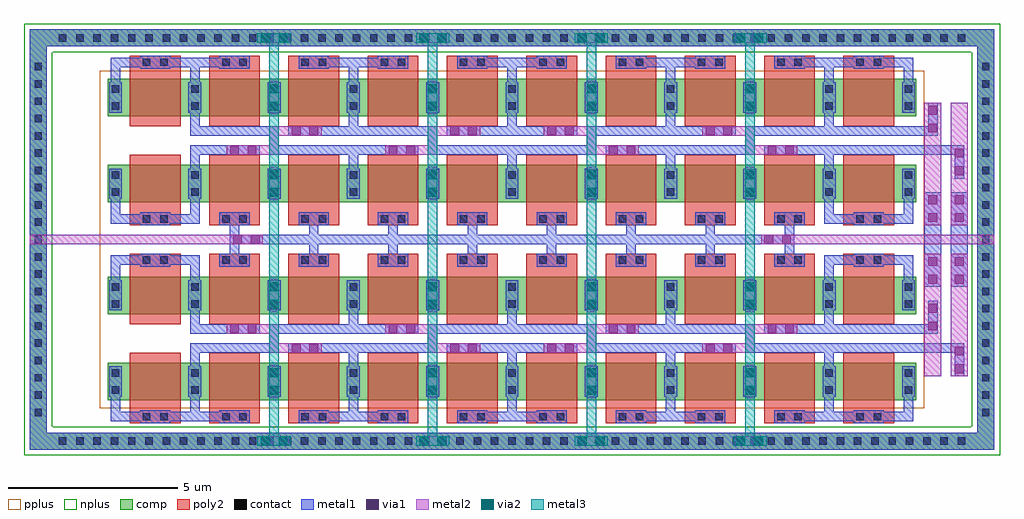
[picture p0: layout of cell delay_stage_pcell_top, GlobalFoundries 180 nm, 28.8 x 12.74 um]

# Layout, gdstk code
from math import pi, radians
import gdstk
lib = gdstk.Library(unit=1e-6, precision=5e-09)
def R(c, l, rs):  # rectangles x0, y0, x1, y1
    for r in rs: c.add(gdstk.rectangle(r[:2], r[2:], *l))
def A(c, l, x, y, w, h, nx, ny, dx, dy):  # array of equal rectangles
    R(c, l, [(x+i*dx, y+j*dy, x+i*dx+w, y+j*dy+h) for i in range(nx) for j in range(ny)])
comp = (22, 0)
poly2 = (30, 0)
pplus = (31, 0)
nplus = (32, 0)
contact = (33, 0)
metal1 = (34, 0)
via1 = (35, 0)
metal2 = (36, 0)
via2 = (38, 0)
metal3 = (42, 0)

delay_stage_pcell_1_2_2 = lib.new_cell('delay_stage_pcell_1$2$2')
R(delay_stage_pcell_1_2_2, comp, [(0.17,0.3,0.63,1.4), (0.63,0.3,2.51,1.4), (2.51,0.3,2.97,1.4)])
R(delay_stage_pcell_1_2_2, poly2, [(0.82,0,2.32,1.7)])
R(delay_stage_pcell_1_2_2, contact, [(0.29,0.485,0.51,0.705), (2.63,0.485,2.85,0.705), (0.29,0.995,0.51,1.215), (2.63,0.995,2.85,1.215)])
R(delay_stage_pcell_1_2_2, metal1, [(0.21,0.405,0.59,1.295), (2.55,0.405,2.93,1.295)])

delay_stage_pcell_4_2 = lib.new_cell('delay_stage_pcell_4$2')
delay_stage_pcell_4_2.add(gdstk.Reference(delay_stage_pcell_1_2_2, (-0.17,0)))
delay_stage_pcell_4_2.add(gdstk.Reference(delay_stage_pcell_1_2_2, (2.17,0)))
delay_stage_pcell_4_2.add(gdstk.Reference(delay_stage_pcell_1_2_2, (4.51,0)))
delay_stage_pcell_4_2.add(gdstk.Reference(delay_stage_pcell_1_2_2, (6.85,0)))

delay_stage_pcell_4_4 = lib.new_cell('delay_stage_pcell_4_4')
R(delay_stage_pcell_4_4, poly2, [(0.65,0,2.15,0.38), (0.65,0,2.15,0.38), (2.99,0,4.49,0.38), (2.99,0,4.49,0.38), (5.33,0,6.83,0.38), (5.33,0,6.83,0.38), (7.67,0,9.17,0.38), (7.67,0,9.17,0.38), (0.65,4.62,2.15,5), (0.65,4.62,2.15,5), (2.99,4.62,4.49,5), (2.99,4.62,4.49,5), (5.33,4.62,6.83,5), (5.33,4.62,6.83,5), (7.67,4.62,9.17,5), (7.67,4.62,9.17,5), (0.65,5.84,2.15,6.22), (0.65,5.84,2.15,6.22), (2.99,5.84,4.49,6.22), (2.99,5.84,4.49,6.22), (5.33,5.84,6.83,6.22), (5.33,5.84,6.83,6.22), (7.67,5.84,9.17,6.22), (7.67,5.84,9.17,6.22), (0.65,10.46,2.15,10.84), (0.65,10.46,2.15,10.84), (2.99,10.46,4.49,10.84), (2.99,10.46,4.49,10.84), (5.33,10.46,6.83,10.84), (5.33,10.46,6.83,10.84), (7.67,10.46,9.17,10.84), (7.67,10.46,9.17,10.84)])
R(delay_stage_pcell_4_4, contact, [(1.035,0.08,1.255,0.3), (1.035,0.08,1.255,0.3), (1.545,0.08,1.765,0.3), (1.545,0.08,1.765,0.3), (3.375,0.08,3.595,0.3), (3.375,0.08,3.595,0.3), (3.885,0.08,4.105,0.3), (3.885,0.08,4.105,0.3), (5.715,0.08,5.935,0.3), (5.715,0.08,5.935,0.3), (6.225,0.08,6.445,0.3), (6.225,0.08,6.445,0.3), (8.055,0.08,8.275,0.3), (8.055,0.08,8.275,0.3), (8.565,0.08,8.785,0.3), (8.565,0.08,8.785,0.3), (1.035,4.7,1.255,4.92), (1.035,4.7,1.255,4.92), (1.545,4.7,1.765,4.92), (1.545,4.7,1.765,4.92), (3.375,4.7,3.595,4.92), (3.375,4.7,3.595,4.92), (3.885,4.7,4.105,4.92), (3.885,4.7,4.105,4.92), (5.715,4.7,5.935,4.92), (5.715,4.7,5.935,4.92), (6.225,4.7,6.445,4.92), (6.225,4.7,6.445,4.92), (8.055,4.7,8.275,4.92), (8.055,4.7,8.275,4.92), (8.565,4.7,8.785,4.92), (8.565,4.7,8.785,4.92), (1.035,5.92,1.255,6.14), (1.035,5.92,1.255,6.14), (1.545,5.92,1.765,6.14), (1.545,5.92,1.765,6.14), (3.375,5.92,3.595,6.14), (3.375,5.92,3.595,6.14), (3.885,5.92,4.105,6.14), (3.885,5.92,4.105,6.14), (5.715,5.92,5.935,6.14), (5.715,5.92,5.935,6.14), (6.225,5.92,6.445,6.14), (6.225,5.92,6.445,6.14), (8.055,5.92,8.275,6.14), (8.055,5.92,8.275,6.14), (8.565,5.92,8.785,6.14), (8.565,5.92,8.785,6.14), (1.035,10.54,1.255,10.76), (1.035,10.54,1.255,10.76), (1.545,10.54,1.765,10.76), (1.545,10.54,1.765,10.76), (3.375,10.54,3.595,10.76), (3.375,10.54,3.595,10.76), (3.885,10.54,4.105,10.76), (3.885,10.54,4.105,10.76), (5.715,10.54,5.935,10.76), (5.715,10.54,5.935,10.76), (6.225,10.54,6.445,10.76), (6.225,10.54,6.445,10.76), (8.055,10.54,8.275,10.76), (8.055,10.54,8.275,10.76), (8.565,10.54,8.785,10.76), (8.565,10.54,8.785,10.76)])
R(delay_stage_pcell_4_4, metal1, [(0.955,0,1.845,0.38), (3.295,0,4.185,0.38), (3.295,0,4.185,0.38), (5.635,0,6.525,0.38), (5.635,0,6.525,0.38), (7.975,0,8.865,0.38), (0.955,4.62,1.845,5), (0.955,4.62,1.845,5), (3.295,4.62,4.185,5), (3.295,4.62,4.185,5), (5.635,4.62,6.525,5), (5.635,4.62,6.525,5), (7.975,4.62,8.865,5), (0.955,5.84,1.845,6.22), (0.955,5.84,1.845,6.22), (3.295,5.84,4.185,6.22), (3.295,5.84,4.185,6.22), (5.635,5.84,6.525,6.22), (5.635,5.84,6.525,6.22), (7.975,5.84,8.865,6.22), (7.975,5.84,8.865,6.22), (0.955,10.46,1.845,10.84), (3.295,10.46,4.185,10.84), (3.295,10.46,4.185,10.84), (5.635,10.46,6.525,10.84), (5.635,10.46,6.525,10.84), (7.975,10.46,8.865,10.84)])
R(delay_stage_pcell_4_4, via1, [(2.44,0.84,2.7,1.1), (7.12,0.84,7.38,1.1), (2.44,1.36,2.7,1.62), (7.12,1.36,7.38,1.62), (1.27,2.09,1.53,2.35), (1.27,2.09,1.53,2.35), (1.79,2.09,2.05,2.35), (1.79,2.09,2.05,2.35), (5.95,2.09,6.21,2.35), (5.95,2.09,6.21,2.35), (6.47,2.09,6.73,2.35), (6.47,2.09,6.73,2.35), (3.09,2.65,3.35,2.91), (3.09,2.65,3.35,2.91), (3.61,2.65,3.87,2.91), (3.61,2.65,3.87,2.91), (7.77,2.65,8.03,2.91), (7.77,2.65,8.03,2.91), (8.29,2.65,8.55,2.91), (8.29,2.65,8.55,2.91), (2.44,3.38,2.7,3.64), (7.12,3.38,7.38,3.64), (2.44,3.9,2.7,4.16), (7.12,3.9,7.38,4.16), (2.44,6.68,2.7,6.94), (7.12,6.68,7.38,6.94), (2.44,7.2,2.7,7.46), (7.12,7.2,7.38,7.46), (3.09,7.93,3.35,8.19), (3.09,7.93,3.35,8.19), (3.61,7.93,3.87,8.19), (3.61,7.93,3.87,8.19), (7.77,7.93,8.03,8.19), (7.77,7.93,8.03,8.19), (8.29,7.93,8.55,8.19), (8.29,7.93,8.55,8.19), (1.27,8.49,1.53,8.75), (1.27,8.49,1.53,8.75), (1.79,8.49,2.05,8.75), (1.79,8.49,2.05,8.75), (5.95,8.49,6.21,8.75), (5.95,8.49,6.21,8.75), (6.47,8.49,6.73,8.75), (6.47,8.49,6.73,8.75), (2.44,9.22,2.7,9.48), (7.12,9.22,7.38,9.48), (2.44,9.74,2.7,10), (7.12,9.74,7.38,10)])
R(delay_stage_pcell_4_4, via2, [(2.44,0.84,2.7,1.1), (7.12,0.84,7.38,1.1), (2.44,1.36,2.7,1.62), (7.12,1.36,7.38,1.62), (2.44,3.38,2.7,3.64), (7.12,3.38,7.38,3.64), (2.44,3.9,2.7,4.16), (7.12,3.9,7.38,4.16), (2.44,6.68,2.7,6.94), (7.12,6.68,7.38,6.94), (2.44,7.2,2.7,7.46), (7.12,7.2,7.38,7.46), (2.44,9.22,2.7,9.48), (7.12,9.22,7.38,9.48), (2.44,9.74,2.7,10), (7.12,9.74,7.38,10)])
delay_stage_pcell_4_4.add(gdstk.FlexPath([(8.56,5.42),(0.23,5.42)], 0.28, ends="flush", simple_path=True, layer=34, datatype=0))  # metal1
delay_stage_pcell_4_4.add(gdstk.FlexPath([(4.185,10.65),(5.635,10.65)], 0.28, ends="flush", simple_path=True, layer=34, datatype=0))  # metal1
delay_stage_pcell_4_4.add(gdstk.FlexPath([(4.91,10.055),(4.91,10.51)], 0.28, ends="flush", simple_path=True, layer=34, datatype=0))  # metal1
delay_stage_pcell_4_4.add(gdstk.FlexPath([(0.955,10.65),(0.23,10.65),(0.23,10.055)], 0.28, ends="flush", simple_path=True, layer=34, datatype=0))  # metal1
delay_stage_pcell_4_4.add(gdstk.FlexPath([(8.865,10.65),(9.59,10.65),(9.59,10.055)], 0.28, ends="flush", simple_path=True, layer=34, datatype=0))  # metal1
delay_stage_pcell_4_4.add(gdstk.FlexPath([(4.185,0.19),(5.635,0.19)], 0.28, ends="flush", simple_path=True, layer=34, datatype=0))  # metal1
delay_stage_pcell_4_4.add(gdstk.FlexPath([(4.91,0.785),(4.91,0.33)], 0.28, ends="flush", simple_path=True, layer=34, datatype=0))  # metal1
delay_stage_pcell_4_4.add(gdstk.FlexPath([(0.955,0.19),(0.23,0.19),(0.23,0.785)], 0.28, ends="flush", simple_path=True, layer=34, datatype=0))  # metal1
delay_stage_pcell_4_4.add(gdstk.FlexPath([(8.865,0.19),(9.59,0.19),(9.59,0.785)], 0.28, ends="flush", simple_path=True, layer=34, datatype=0))  # metal1
delay_stage_pcell_4_4.add(gdstk.FlexPath([(9.59,1.675),(9.59,2.22),(8.65,2.22)], 0.28, ends="flush", simple_path=True, layer=34, datatype=0))  # metal1
delay_stage_pcell_4_4.add(gdstk.FlexPath([(9.59,1.675),(9.59,2.22),(8.65,2.22)], 0.28, ends="flush", simple_path=True, layer=34, datatype=0))  # metal1
delay_stage_pcell_4_4.add(gdstk.FlexPath([(4.91,1.675),(4.91,2.08)], 0.28, ends="flush", simple_path=True, layer=34, datatype=0))  # metal1
delay_stage_pcell_4_4.add(gdstk.FlexPath([(4.91,1.675),(4.91,2.08)], 0.28, ends="flush", simple_path=True, layer=34, datatype=0))  # metal1
delay_stage_pcell_4_4.add(gdstk.FlexPath([(0.23,1.675),(0.23,2.22),(1.17,2.22)], 0.28, ends="flush", simple_path=True, layer=34, datatype=0))  # metal1
delay_stage_pcell_4_4.add(gdstk.FlexPath([(0.23,1.675),(0.23,2.22),(1.17,2.22)], 0.28, ends="flush", simple_path=True, layer=34, datatype=0))  # metal1
delay_stage_pcell_4_4.add(gdstk.FlexPath([(8.65,2.22),(7.25,2.22),(7.25,2.78),(5.85,2.78)], 0.28, ends="flush", simple_path=True, layer=34, datatype=0))  # metal1
delay_stage_pcell_4_4.add(gdstk.FlexPath([(8.65,2.22),(7.25,2.22),(7.25,2.78),(5.85,2.78)], 0.28, ends="flush", simple_path=True, layer=34, datatype=0))  # metal1
delay_stage_pcell_4_4.add(gdstk.FlexPath([(6.83,2.22),(5.85,2.22)], 0.28, ends="flush", simple_path=True, layer=34, datatype=0))  # metal1
delay_stage_pcell_4_4.add(gdstk.FlexPath([(6.83,2.22),(5.85,2.22)], 0.28, ends="flush", simple_path=True, layer=34, datatype=0))  # metal1
delay_stage_pcell_4_4.add(gdstk.FlexPath([(3.97,2.22),(5.85,2.22)], 0.28, ends="flush", simple_path=True, layer=34, datatype=0))  # metal1
delay_stage_pcell_4_4.add(gdstk.FlexPath([(3.97,2.22),(5.85,2.22)], 0.28, ends="flush", simple_path=True, layer=34, datatype=0))  # metal1
delay_stage_pcell_4_4.add(gdstk.FlexPath([(3.97,2.22),(2.57,2.22),(2.57,2.78),(1.17,2.78)], 0.28, ends="flush", simple_path=True, layer=34, datatype=0))  # metal1
delay_stage_pcell_4_4.add(gdstk.FlexPath([(3.97,2.22),(2.57,2.22),(2.57,2.78),(1.17,2.78)], 0.28, ends="flush", simple_path=True, layer=34, datatype=0))  # metal1
delay_stage_pcell_4_4.add(gdstk.FlexPath([(2.15,2.22),(1.17,2.22)], 0.28, ends="flush", simple_path=True, layer=34, datatype=0))  # metal1
delay_stage_pcell_4_4.add(gdstk.FlexPath([(2.15,2.22),(1.17,2.22)], 0.28, ends="flush", simple_path=True, layer=34, datatype=0))  # metal1
delay_stage_pcell_4_4.add(gdstk.FlexPath([(8.65,2.78),(7.67,2.78)], 0.28, ends="flush", simple_path=True, layer=34, datatype=0))  # metal1
delay_stage_pcell_4_4.add(gdstk.FlexPath([(8.65,2.78),(7.67,2.78)], 0.28, ends="flush", simple_path=True, layer=34, datatype=0))  # metal1
delay_stage_pcell_4_4.add(gdstk.FlexPath([(3.97,2.78),(5.85,2.78)], 0.28, ends="flush", simple_path=True, layer=34, datatype=0))  # metal1
delay_stage_pcell_4_4.add(gdstk.FlexPath([(3.97,2.78),(5.85,2.78)], 0.28, ends="flush", simple_path=True, layer=34, datatype=0))  # metal1
delay_stage_pcell_4_4.add(gdstk.FlexPath([(3.97,2.78),(2.99,2.78)], 0.28, ends="flush", simple_path=True, layer=34, datatype=0))  # metal1
delay_stage_pcell_4_4.add(gdstk.FlexPath([(3.97,2.78),(2.99,2.78)], 0.28, ends="flush", simple_path=True, layer=34, datatype=0))  # metal1
delay_stage_pcell_4_4.add(gdstk.FlexPath([(1.17,2.78),(0.23,2.78),(0.23,3.325)], 0.28, ends="flush", simple_path=True, layer=34, datatype=0))  # metal1
delay_stage_pcell_4_4.add(gdstk.FlexPath([(1.17,2.78),(0.23,2.78),(0.23,3.325)], 0.28, ends="flush", simple_path=True, layer=34, datatype=0))  # metal1
delay_stage_pcell_4_4.add(gdstk.FlexPath([(9.59,3.325),(9.59,2.78),(8.65,2.78)], 0.28, ends="flush", simple_path=True, layer=34, datatype=0))  # metal1
delay_stage_pcell_4_4.add(gdstk.FlexPath([(9.59,3.325),(9.59,2.78),(8.65,2.78)], 0.28, ends="flush", simple_path=True, layer=34, datatype=0))  # metal1
delay_stage_pcell_4_4.add(gdstk.FlexPath([(4.91,3.325),(4.91,2.92)], 0.28, ends="flush", simple_path=True, layer=34, datatype=0))  # metal1
delay_stage_pcell_4_4.add(gdstk.FlexPath([(4.91,3.325),(4.91,2.92)], 0.28, ends="flush", simple_path=True, layer=34, datatype=0))  # metal1
delay_stage_pcell_4_4.add(gdstk.FlexPath([(9.59,7.515),(9.59,8.06),(8.65,8.06)], 0.28, ends="flush", simple_path=True, layer=34, datatype=0))  # metal1
delay_stage_pcell_4_4.add(gdstk.FlexPath([(9.59,9.165),(9.59,8.62),(8.65,8.62)], 0.28, ends="flush", simple_path=True, layer=34, datatype=0))  # metal1
delay_stage_pcell_4_4.add(gdstk.FlexPath([(4.91,9.165),(4.91,8.76)], 0.28, ends="flush", simple_path=True, layer=34, datatype=0))  # metal1
delay_stage_pcell_4_4.add(gdstk.FlexPath([(4.91,7.515),(4.91,7.92)], 0.28, ends="flush", simple_path=True, layer=34, datatype=0))  # metal1
delay_stage_pcell_4_4.add(gdstk.FlexPath([(1.17,8.06),(0.23,8.06),(0.23,7.515)], 0.28, ends="flush", simple_path=True, layer=34, datatype=0))  # metal1
delay_stage_pcell_4_4.add(gdstk.FlexPath([(0.23,9.165),(0.23,8.62),(1.17,8.62)], 0.28, ends="flush", simple_path=True, layer=34, datatype=0))  # metal1
delay_stage_pcell_4_4.add(gdstk.FlexPath([(8.65,8.62),(7.25,8.62),(7.25,8.06),(5.85,8.06)], 0.28, ends="flush", simple_path=True, layer=34, datatype=0))  # metal1
delay_stage_pcell_4_4.add(gdstk.FlexPath([(3.97,8.62),(2.57,8.62),(2.57,8.06),(1.17,8.06)], 0.28, ends="flush", simple_path=True, layer=34, datatype=0))  # metal1
delay_stage_pcell_4_4.add(gdstk.FlexPath([(2.15,8.62),(1.17,8.62)], 0.28, ends="flush", simple_path=True, layer=34, datatype=0))  # metal1
delay_stage_pcell_4_4.add(gdstk.FlexPath([(3.97,8.06),(2.99,8.06)], 0.28, ends="flush", simple_path=True, layer=34, datatype=0))  # metal1
delay_stage_pcell_4_4.add(gdstk.FlexPath([(8.65,8.06),(7.67,8.06)], 0.28, ends="flush", simple_path=True, layer=34, datatype=0))  # metal1
delay_stage_pcell_4_4.add(gdstk.FlexPath([(6.83,8.62),(5.85,8.62)], 0.28, ends="flush", simple_path=True, layer=34, datatype=0))  # metal1
delay_stage_pcell_4_4.add(gdstk.FlexPath([(3.97,8.62),(5.85,8.62)], 0.28, ends="flush", simple_path=True, layer=34, datatype=0))  # metal1
delay_stage_pcell_4_4.add(gdstk.FlexPath([(3.97,8.06),(5.85,8.06)], 0.28, ends="flush", simple_path=True, layer=34, datatype=0))  # metal1
delay_stage_pcell_4_4.add(gdstk.FlexPath([(3.97,8.06),(5.85,8.06)], 0.28, ends="flush", simple_path=True, layer=34, datatype=0))  # metal1
delay_stage_pcell_4_4.add(gdstk.FlexPath([(3.97,8.62),(5.85,8.62)], 0.28, ends="flush", simple_path=True, layer=34, datatype=0))  # metal1
delay_stage_pcell_4_4.add(gdstk.FlexPath([(6.83,8.62),(5.85,8.62)], 0.28, ends="flush", simple_path=True, layer=34, datatype=0))  # metal1
delay_stage_pcell_4_4.add(gdstk.FlexPath([(8.65,8.06),(7.67,8.06)], 0.28, ends="flush", simple_path=True, layer=34, datatype=0))  # metal1
delay_stage_pcell_4_4.add(gdstk.FlexPath([(3.97,8.06),(2.99,8.06)], 0.28, ends="flush", simple_path=True, layer=34, datatype=0))  # metal1
delay_stage_pcell_4_4.add(gdstk.FlexPath([(2.15,8.62),(1.17,8.62)], 0.28, ends="flush", simple_path=True, layer=34, datatype=0))  # metal1
delay_stage_pcell_4_4.add(gdstk.FlexPath([(3.97,8.62),(2.57,8.62),(2.57,8.06),(1.17,8.06)], 0.28, ends="flush", simple_path=True, layer=34, datatype=0))  # metal1
delay_stage_pcell_4_4.add(gdstk.FlexPath([(8.65,8.62),(7.25,8.62),(7.25,8.06),(5.85,8.06)], 0.28, ends="flush", simple_path=True, layer=34, datatype=0))  # metal1
delay_stage_pcell_4_4.add(gdstk.FlexPath([(0.23,9.165),(0.23,8.62),(1.17,8.62)], 0.28, ends="flush", simple_path=True, layer=34, datatype=0))  # metal1
delay_stage_pcell_4_4.add(gdstk.FlexPath([(1.17,8.06),(0.23,8.06),(0.23,7.515)], 0.28, ends="flush", simple_path=True, layer=34, datatype=0))  # metal1
delay_stage_pcell_4_4.add(gdstk.FlexPath([(4.91,7.515),(4.91,7.92)], 0.28, ends="flush", simple_path=True, layer=34, datatype=0))  # metal1
delay_stage_pcell_4_4.add(gdstk.FlexPath([(4.91,9.165),(4.91,8.76)], 0.28, ends="flush", simple_path=True, layer=34, datatype=0))  # metal1
delay_stage_pcell_4_4.add(gdstk.FlexPath([(9.59,9.165),(9.59,8.62),(8.65,8.62)], 0.28, ends="flush", simple_path=True, layer=34, datatype=0))  # metal1
delay_stage_pcell_4_4.add(gdstk.FlexPath([(9.59,7.515),(9.59,8.06),(8.65,8.06)], 0.28, ends="flush", simple_path=True, layer=34, datatype=0))  # metal1
delay_stage_pcell_4_4.add(gdstk.FlexPath([(8.42,5),(8.42,5.28)], 0.28, ends="flush", simple_path=True, layer=34, datatype=0))  # metal1
delay_stage_pcell_4_4.add(gdstk.FlexPath([(8.42,5.84),(8.42,5.56)], 0.28, ends="flush", simple_path=True, layer=34, datatype=0))  # metal1
delay_stage_pcell_4_4.add(gdstk.FlexPath([(6.08,5),(6.08,5.28)], 0.28, ends="flush", simple_path=True, layer=34, datatype=0))  # metal1
delay_stage_pcell_4_4.add(gdstk.FlexPath([(6.08,5.84),(6.08,5.56)], 0.28, ends="flush", simple_path=True, layer=34, datatype=0))  # metal1
delay_stage_pcell_4_4.add(gdstk.FlexPath([(3.74,5),(3.74,5.28)], 0.28, ends="flush", simple_path=True, layer=34, datatype=0))  # metal1
delay_stage_pcell_4_4.add(gdstk.FlexPath([(3.74,5.84),(3.74,5.56)], 0.28, ends="flush", simple_path=True, layer=34, datatype=0))  # metal1
delay_stage_pcell_4_4.add(gdstk.FlexPath([(1.4,5),(1.4,5.28)], 0.28, ends="flush", simple_path=True, layer=34, datatype=0))  # metal1
delay_stage_pcell_4_4.add(gdstk.FlexPath([(1.4,5.84),(1.4,5.56)], 0.28, ends="flush", simple_path=True, layer=34, datatype=0))  # metal1
delay_stage_pcell_4_4.add(gdstk.FlexPath([(8.65,2.78),(7.25,2.78),(7.25,2.22),(5.85,2.22)], 0.28, ends="flush", simple_path=True, layer=36, datatype=0))  # metal2
delay_stage_pcell_4_4.add(gdstk.FlexPath([(8.65,2.78),(7.25,2.78),(7.25,2.22),(5.85,2.22)], 0.28, ends="flush", simple_path=True, layer=36, datatype=0))  # metal2
delay_stage_pcell_4_4.add(gdstk.FlexPath([(3.97,2.78),(2.57,2.78),(2.57,2.22),(1.17,2.22)], 0.28, ends="flush", simple_path=True, layer=36, datatype=0))  # metal2
delay_stage_pcell_4_4.add(gdstk.FlexPath([(3.97,2.78),(2.57,2.78),(2.57,2.22),(1.17,2.22)], 0.28, ends="flush", simple_path=True, layer=36, datatype=0))  # metal2
delay_stage_pcell_4_4.add(gdstk.FlexPath([(3.97,8.06),(2.57,8.06),(2.57,8.62),(1.17,8.62)], 0.28, ends="flush", simple_path=True, layer=36, datatype=0))  # metal2
delay_stage_pcell_4_4.add(gdstk.FlexPath([(8.65,8.06),(7.25,8.06),(7.25,8.62),(5.85,8.62)], 0.28, ends="flush", simple_path=True, layer=36, datatype=0))  # metal2
delay_stage_pcell_4_4.add(gdstk.FlexPath([(8.65,8.06),(7.25,8.06),(7.25,8.62),(5.85,8.62)], 0.28, ends="flush", simple_path=True, layer=36, datatype=0))  # metal2
delay_stage_pcell_4_4.add(gdstk.FlexPath([(3.97,8.06),(2.57,8.06),(2.57,8.62),(1.17,8.62)], 0.28, ends="flush", simple_path=True, layer=36, datatype=0))  # metal2
delay_stage_pcell_4_4.add(gdstk.FlexPath([(7.25,6.58),(7.25,7.56)], 0.28, ends="flush", simple_path=True, layer=36, datatype=0))  # metal2
delay_stage_pcell_4_4.add(gdstk.FlexPath([(7.25,9.12),(7.25,10.1)], 0.28, ends="flush", simple_path=True, layer=36, datatype=0))  # metal2
delay_stage_pcell_4_4.add(gdstk.FlexPath([(2.57,6.58),(2.57,7.56)], 0.28, ends="flush", simple_path=True, layer=36, datatype=0))  # metal2
delay_stage_pcell_4_4.add(gdstk.FlexPath([(7.25,3.28),(7.25,4.26)], 0.28, ends="flush", simple_path=True, layer=36, datatype=0))  # metal2
delay_stage_pcell_4_4.add(gdstk.FlexPath([(2.57,3.28),(2.57,4.26)], 0.28, ends="flush", simple_path=True, layer=36, datatype=0))  # metal2
delay_stage_pcell_4_4.add(gdstk.FlexPath([(7.25,0.74),(7.25,1.72)], 0.28, ends="flush", simple_path=True, layer=36, datatype=0))  # metal2
delay_stage_pcell_4_4.add(gdstk.FlexPath([(2.57,0.74),(2.57,1.72)], 0.28, ends="flush", simple_path=True, layer=36, datatype=0))  # metal2
delay_stage_pcell_4_4.add(gdstk.FlexPath([(2.57,9.12),(2.57,10.1)], 0.28, ends="flush", simple_path=True, layer=36, datatype=0))  # metal2
delay_stage_pcell_4_4.add(gdstk.FlexPath([(7.25,6.58),(7.25,7.56)], 0.28, ends="flush", simple_path=True, layer=42, datatype=0))  # metal3
delay_stage_pcell_4_4.add(gdstk.FlexPath([(7.25,9.12),(7.25,10.1)], 0.28, ends="flush", simple_path=True, layer=42, datatype=0))  # metal3
delay_stage_pcell_4_4.add(gdstk.FlexPath([(2.57,6.58),(2.57,7.56)], 0.28, ends="flush", simple_path=True, layer=42, datatype=0))  # metal3
delay_stage_pcell_4_4.add(gdstk.FlexPath([(7.25,3.28),(7.25,4.26)], 0.28, ends="flush", simple_path=True, layer=42, datatype=0))  # metal3
delay_stage_pcell_4_4.add(gdstk.FlexPath([(2.57,3.28),(2.57,4.26)], 0.28, ends="flush", simple_path=True, layer=42, datatype=0))  # metal3
delay_stage_pcell_4_4.add(gdstk.FlexPath([(7.25,0.74),(7.25,1.72)], 0.28, ends="flush", simple_path=True, layer=42, datatype=0))  # metal3
delay_stage_pcell_4_4.add(gdstk.FlexPath([(2.57,0.74),(2.57,1.72)], 0.28, ends="flush", simple_path=True, layer=42, datatype=0))  # metal3
delay_stage_pcell_4_4.add(gdstk.FlexPath([(2.57,9.12),(2.57,10.1)], 0.28, ends="flush", simple_path=True, layer=42, datatype=0))  # metal3
delay_stage_pcell_4_4.add(gdstk.Reference(delay_stage_pcell_4_2, (9.82,7.92), rotation=pi))
delay_stage_pcell_4_4.add(gdstk.Reference(delay_stage_pcell_4_2, (9.82,2.08), rotation=pi))
delay_stage_pcell_4_4.add(gdstk.Reference(delay_stage_pcell_4_2, (9.82,8.76), rotation=pi, x_reflection=True))
delay_stage_pcell_4_4.add(gdstk.Reference(delay_stage_pcell_4_2, (9.82,2.92), rotation=pi, x_reflection=True))

delay_stage_pcell_1_1 = lib.new_cell('delay_stage_pcell_1$1')
R(delay_stage_pcell_1_1, comp, [(0.17,0.3,0.63,1.4), (0.63,0.3,2.51,1.4), (2.51,0.3,2.97,1.4)])
R(delay_stage_pcell_1_1, poly2, [(0.82,0,2.32,1.7)])
R(delay_stage_pcell_1_1, contact, [(0.29,0.485,0.51,0.705), (2.63,0.485,2.85,0.705), (0.29,0.995,0.51,1.215), (2.63,0.995,2.85,1.215)])
R(delay_stage_pcell_1_1, metal1, [(0.21,0.405,0.59,1.295), (2.55,0.405,2.93,1.295)])

delay_stage_pcell_1_4 = lib.new_cell('delay_stage_pcell_1_4')
R(delay_stage_pcell_1_4, poly2, [(0.65,0,2.15,0.38), (0.65,4.62,2.15,5), (0.65,5.84,2.15,6.22), (0.65,10.46,2.15,10.84)])
R(delay_stage_pcell_1_4, contact, [(1.035,0.08,1.255,0.3), (1.545,0.08,1.765,0.3), (1.035,4.7,1.255,4.92), (1.545,4.7,1.765,4.92), (1.035,5.92,1.255,6.14), (1.545,5.92,1.765,6.14), (1.035,10.54,1.255,10.76), (1.545,10.54,1.765,10.76)])
R(delay_stage_pcell_1_4, metal1, [(0.955,0,1.845,0.38), (0.955,4.62,1.845,5), (0.955,5.84,1.845,6.22), (0.955,10.46,1.845,10.84)])
delay_stage_pcell_1_4.add(gdstk.FlexPath([(2.57,10.055),(2.57,10.65),(0.23,10.65),(0.23,10.055)], 0.28, ends="flush", simple_path=True, layer=34, datatype=0))  # metal1
delay_stage_pcell_1_4.add(gdstk.FlexPath([(2.57,0.785),(2.57,0.19),(0.23,0.19),(0.23,0.785)], 0.28, ends="flush", simple_path=True, layer=34, datatype=0))  # metal1
delay_stage_pcell_1_4.add(gdstk.FlexPath([(2.57,6.625),(2.57,6.03),(0.23,6.03),(0.23,6.625)], 0.28, ends="flush", simple_path=True, layer=34, datatype=0))  # metal1
delay_stage_pcell_1_4.add(gdstk.FlexPath([(2.57,4.215),(2.57,4.81),(0.23,4.81),(0.23,4.215)], 0.28, ends="flush", simple_path=True, layer=34, datatype=0))  # metal1
delay_stage_pcell_1_4.add(gdstk.Reference(delay_stage_pcell_1_1, (-0.17,6.22)))
delay_stage_pcell_1_4.add(gdstk.Reference(delay_stage_pcell_1_1, (-0.17,0.38)))
delay_stage_pcell_1_4.add(gdstk.Reference(delay_stage_pcell_1_1, (-0.17,2.92)))
delay_stage_pcell_1_4.add(gdstk.Reference(delay_stage_pcell_1_1, (-0.17,8.76)))

m1_m2 = lib.new_cell('M1_M2')
R(m1_m2, via1, [(0.1,0.01,0.36,0.27), (0.62,0.01,0.88,0.27)])
m1_m2.add(gdstk.FlexPath([(0,0.14),(0.98,0.14)], 0.28, ends="flush", simple_path=True, layer=34, datatype=0))  # metal1
m1_m2.add(gdstk.FlexPath([(0,0.14),(0.98,0.14)], 0.28, ends="flush", simple_path=True, layer=36, datatype=0))  # metal2

delay_stage_pcell_top = lib.new_cell('delay_stage_pcell_top')
R(delay_stage_pcell_top, pplus, [(2.23,1.39,26.57,11.35)])
A(delay_stage_pcell_top, contact, 1.03, 0.31, 0.22, 0.22, 53, 2, 0.51, 11.9)
A(delay_stage_pcell_top, contact, 0.31, 1.16, 0.22, 0.22, 1, 21, 0, 0.51)
A(delay_stage_pcell_top, contact, 28.27, 1.16, 0.22, 0.22, 1, 21, 0, 0.51)
R(delay_stage_pcell_top, via1, [(6.99,0.29,7.25,0.55), (7.51,0.29,7.77,0.55), (11.67,0.29,11.93,0.55), (12.19,0.29,12.45,0.55), (16.35,0.29,16.61,0.55), (16.87,0.29,17.13,0.55), (21.03,0.29,21.29,0.55), (21.55,0.29,21.81,0.55), (27.47,2.43,27.73,2.69), (27.47,2.43,27.73,2.69), (27.47,2.95,27.73,3.21), (27.47,2.95,27.73,3.21), (26.69,3.69,26.95,3.95), (26.69,3.69,26.95,3.95), (26.69,4.21,26.95,4.47), (26.69,4.21,26.95,4.47), (26.69,5.07,26.95,5.33), (26.69,5.07,26.95,5.33), (27.47,5.07,27.73,5.33), (27.47,5.07,27.73,5.33), (26.69,5.59,26.95,5.85), (26.69,5.59,26.95,5.85), (27.47,5.59,27.73,5.85), (27.47,5.59,27.73,5.85), (26.69,6.89,26.95,7.15), (26.69,6.89,26.95,7.15), (27.47,6.89,27.73,7.15), (27.47,6.89,27.73,7.15), (26.69,7.41,26.95,7.67), (26.69,7.41,26.95,7.67), (27.47,7.41,27.73,7.67), (27.47,7.41,27.73,7.67), (27.47,8.27,27.73,8.53), (27.47,8.27,27.73,8.53), (27.47,8.79,27.73,9.05), (27.47,8.79,27.73,9.05), (6.99,12.19,7.25,12.45), (7.51,12.19,7.77,12.45), (11.67,12.19,11.93,12.45), (12.19,12.19,12.45,12.45), (16.35,12.19,16.61,12.45), (16.87,12.19,17.13,12.45), (21.03,12.19,21.29,12.45), (21.55,12.19,21.81,12.45)])
R(delay_stage_pcell_top, via2, [(6.99,0.29,7.25,0.55), (7.51,0.29,7.77,0.55), (11.67,0.29,11.93,0.55), (12.19,0.29,12.45,0.55), (16.35,0.29,16.61,0.55), (16.87,0.29,17.13,0.55), (21.03,0.29,21.29,0.55), (21.55,0.29,21.81,0.55), (6.99,12.19,7.25,12.45), (7.51,12.19,7.77,12.45), (11.67,12.19,11.93,12.45), (12.19,12.19,12.45,12.45), (16.35,12.19,16.61,12.45), (16.87,12.19,17.13,12.45), (21.03,12.19,21.29,12.45), (21.55,12.19,21.81,12.45)])
delay_stage_pcell_top.add(gdstk.FlexPath([(23.9,3.73),(26.85,3.73)], 0.28, ends="flush", simple_path=True, layer=34, datatype=0))  # metal1
delay_stage_pcell_top.add(gdstk.FlexPath([(23.9,3.17),(27.46,3.17)], 0.28, ends="flush", simple_path=True, layer=34, datatype=0))  # metal1
delay_stage_pcell_top.add(gdstk.FlexPath([(27.6,2.33),(27.6,3.31)], 0.28, ends="flush", simple_path=True, layer=34, datatype=0))  # metal1
delay_stage_pcell_top.add(gdstk.FlexPath([(27.6,2.33),(27.6,3.31)], 0.28, ends="flush", simple_path=True, layer=34, datatype=0))  # metal1
delay_stage_pcell_top.add(gdstk.FlexPath([(26.82,3.59),(26.82,4.57)], 0.28, ends="flush", simple_path=True, layer=34, datatype=0))  # metal1
delay_stage_pcell_top.add(gdstk.FlexPath([(26.82,3.59),(26.82,4.57)], 0.28, ends="flush", simple_path=True, layer=34, datatype=0))  # metal1
delay_stage_pcell_top.add(gdstk.FlexPath([(23.9,9.57),(26.68,9.57)], 0.28, ends="flush", simple_path=True, layer=34, datatype=0))  # metal1
delay_stage_pcell_top.add(gdstk.FlexPath([(23.9,9.01),(27.46,9.01)], 0.28, ends="flush", simple_path=True, layer=34, datatype=0))  # metal1
delay_stage_pcell_top.add(gdstk.FlexPath([(27.6,8.17),(27.6,9.15)], 0.28, ends="flush", simple_path=True, layer=34, datatype=0))  # metal1
delay_stage_pcell_top.add(gdstk.FlexPath([(27.6,8.17),(27.6,9.15)], 0.28, ends="flush", simple_path=True, layer=34, datatype=0))  # metal1
delay_stage_pcell_top.add(gdstk.FlexPath([(26.82,4.97),(26.82,5.95)], 0.28, ends="flush", simple_path=True, layer=34, datatype=0))  # metal1
delay_stage_pcell_top.add(gdstk.FlexPath([(28.38,12.57),(28.38,0.42),(0.42,0.42),(0.42,12.32),(28.13,12.32)], 0.5, ends="flush", simple_path=True, layer=34, datatype=0))  # metal1
delay_stage_pcell_top.add(gdstk.FlexPath([(26.82,4.97),(26.82,5.95)], 0.28, ends="flush", simple_path=True, layer=34, datatype=0))  # metal1
delay_stage_pcell_top.add(gdstk.FlexPath([(27.6,4.97),(27.6,5.95)], 0.28, ends="flush", simple_path=True, layer=34, datatype=0))  # metal1
delay_stage_pcell_top.add(gdstk.FlexPath([(27.6,4.97),(27.6,5.95)], 0.28, ends="flush", simple_path=True, layer=34, datatype=0))  # metal1
delay_stage_pcell_top.add(gdstk.FlexPath([(26.82,4.97),(26.82,7.77)], 0.5, ends="flush", simple_path=True, layer=34, datatype=0))  # metal1
delay_stage_pcell_top.add(gdstk.FlexPath([(26.82,6.79),(26.82,7.77)], 0.28, ends="flush", simple_path=True, layer=34, datatype=0))  # metal1
delay_stage_pcell_top.add(gdstk.FlexPath([(26.82,6.79),(26.82,7.77)], 0.28, ends="flush", simple_path=True, layer=34, datatype=0))  # metal1
delay_stage_pcell_top.add(gdstk.FlexPath([(27.6,4.97),(27.6,7.77)], 0.5, ends="flush", simple_path=True, layer=34, datatype=0))  # metal1
delay_stage_pcell_top.add(gdstk.FlexPath([(27.6,6.79),(27.6,7.77)], 0.28, ends="flush", simple_path=True, layer=34, datatype=0))  # metal1
delay_stage_pcell_top.add(gdstk.FlexPath([(27.6,6.79),(27.6,7.77)], 0.28, ends="flush", simple_path=True, layer=34, datatype=0))  # metal1
delay_stage_pcell_top.add(gdstk.FlexPath([(28.38,12.57),(28.38,0.42),(0.42,0.42),(0.42,12.32),(28.13,12.32)], 0.5, ends="flush", simple_path=True, layer=22, datatype=0))  # comp
delay_stage_pcell_top.add(gdstk.FlexPath([(26.82,6.79),(26.82,10.41)], 0.5, ends="flush", simple_path=True, layer=36, datatype=0))  # metal2
delay_stage_pcell_top.add(gdstk.FlexPath([(27.6,6.79),(27.6,10.41)], 0.5, ends="flush", simple_path=True, layer=36, datatype=0))  # metal2
delay_stage_pcell_top.add(gdstk.FlexPath([(20.93,0.42),(21.91,0.42)], 0.28, ends="flush", simple_path=True, layer=36, datatype=0))  # metal2
delay_stage_pcell_top.add(gdstk.FlexPath([(20.93,12.32),(21.91,12.32)], 0.28, ends="flush", simple_path=True, layer=36, datatype=0))  # metal2
delay_stage_pcell_top.add(gdstk.FlexPath([(16.25,0.42),(17.23,0.42)], 0.28, ends="flush", simple_path=True, layer=36, datatype=0))  # metal2
delay_stage_pcell_top.add(gdstk.FlexPath([(16.25,12.32),(17.23,12.32)], 0.28, ends="flush", simple_path=True, layer=36, datatype=0))  # metal2
delay_stage_pcell_top.add(gdstk.FlexPath([(11.57,0.42),(12.55,0.42)], 0.28, ends="flush", simple_path=True, layer=36, datatype=0))  # metal2
delay_stage_pcell_top.add(gdstk.FlexPath([(11.57,12.32),(12.55,12.32)], 0.28, ends="flush", simple_path=True, layer=36, datatype=0))  # metal2
delay_stage_pcell_top.add(gdstk.FlexPath([(6.89,0.42),(7.87,0.42)], 0.28, ends="flush", simple_path=True, layer=36, datatype=0))  # metal2
delay_stage_pcell_top.add(gdstk.FlexPath([(6.89,12.32),(7.87,12.32)], 0.28, ends="flush", simple_path=True, layer=36, datatype=0))  # metal2
delay_stage_pcell_top.add(gdstk.FlexPath([(6.07,6.37),(0.17,6.37)], 0.28, ends="flush", simple_path=True, layer=36, datatype=0))  # metal2
delay_stage_pcell_top.add(gdstk.FlexPath([(22.73,6.37),(28.63,6.37)], 0.28, ends="flush", simple_path=True, layer=36, datatype=0))  # metal2
delay_stage_pcell_top.add(gdstk.FlexPath([(26.82,2.33),(26.82,5.95)], 0.5, ends="flush", simple_path=True, layer=36, datatype=0))  # metal2
delay_stage_pcell_top.add(gdstk.FlexPath([(27.6,2.33),(27.6,5.95)], 0.5, ends="flush", simple_path=True, layer=36, datatype=0))  # metal2
delay_stage_pcell_top.add(gdstk.FlexPath([(21.42,12.18),(21.42,0.56)], 0.28, ends="flush", simple_path=True, layer=42, datatype=0))  # metal3
delay_stage_pcell_top.add(gdstk.FlexPath([(20.93,0.42),(21.91,0.42)], 0.28, ends="flush", simple_path=True, layer=42, datatype=0))  # metal3
delay_stage_pcell_top.add(gdstk.FlexPath([(20.93,12.32),(21.91,12.32)], 0.28, ends="flush", simple_path=True, layer=42, datatype=0))  # metal3
delay_stage_pcell_top.add(gdstk.FlexPath([(16.74,12.18),(16.74,0.56)], 0.28, ends="flush", simple_path=True, layer=42, datatype=0))  # metal3
delay_stage_pcell_top.add(gdstk.FlexPath([(16.25,0.42),(17.23,0.42)], 0.28, ends="flush", simple_path=True, layer=42, datatype=0))  # metal3
delay_stage_pcell_top.add(gdstk.FlexPath([(16.25,12.32),(17.23,12.32)], 0.28, ends="flush", simple_path=True, layer=42, datatype=0))  # metal3
delay_stage_pcell_top.add(gdstk.FlexPath([(12.06,12.18),(12.06,0.56)], 0.28, ends="flush", simple_path=True, layer=42, datatype=0))  # metal3
delay_stage_pcell_top.add(gdstk.FlexPath([(11.57,0.42),(12.55,0.42)], 0.28, ends="flush", simple_path=True, layer=42, datatype=0))  # metal3
delay_stage_pcell_top.add(gdstk.FlexPath([(11.57,12.32),(12.55,12.32)], 0.28, ends="flush", simple_path=True, layer=42, datatype=0))  # metal3
delay_stage_pcell_top.add(gdstk.FlexPath([(7.38,12.18),(7.38,0.56)], 0.28, ends="flush", simple_path=True, layer=42, datatype=0))  # metal3
delay_stage_pcell_top.add(gdstk.FlexPath([(6.89,0.42),(7.87,0.42)], 0.28, ends="flush", simple_path=True, layer=42, datatype=0))  # metal3
delay_stage_pcell_top.add(gdstk.FlexPath([(6.89,12.32),(7.87,12.32)], 0.28, ends="flush", simple_path=True, layer=42, datatype=0))  # metal3
delay_stage_pcell_top.add(gdstk.FlexPath([(28.38,12.74),(28.38,0.42),(0.42,0.42),(0.42,12.32),(28.8,12.32)], 0.84, ends="flush", simple_path=True, layer=32, datatype=0))  # nplus
delay_stage_pcell_top.add(gdstk.Reference(delay_stage_pcell_4_4, (14.63,0.95), rotation=pi, x_reflection=True))
delay_stage_pcell_top.add(gdstk.Reference(delay_stage_pcell_4_4, (14.17,0.95)))
delay_stage_pcell_top.add(gdstk.Reference(delay_stage_pcell_1_4, (26.33,0.95), rotation=pi, x_reflection=True))
delay_stage_pcell_top.add(gdstk.Reference(delay_stage_pcell_1_4, (5.27,0.95), rotation=pi, x_reflection=True))
delay_stage_pcell_top.add(gdstk.Reference(m1_m2, (26.68,10.41), rotation=3*pi/2))
delay_stage_pcell_top.add(gdstk.Reference(m1_m2, (6.07,6.23)))
delay_stage_pcell_top.add(gdstk.Reference(m1_m2, (22.73,6.23), rotation=pi, x_reflection=True))

lib.write_gds('delay_stage_pcell_top.gds')
